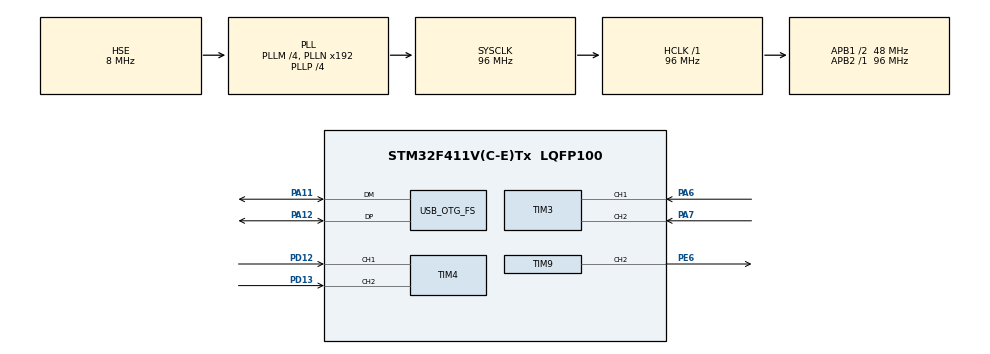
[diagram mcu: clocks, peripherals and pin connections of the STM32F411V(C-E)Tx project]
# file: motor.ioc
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Mcu.Family=STM32F4
Mcu.Name=STM32F411V(C-E)Tx
Mcu.Package=LQFP100
NVIC.OTG_FS_IRQn=true\:0\:0\:false\:false\:true\:true\:true\:true
NVIC.PriorityGroup=NVIC_PRIORITYGROUP_4
NVIC.TIM2_IRQn=true\:0\:0\:false\:false\:true\:true\:true\:true
PA11.Mode=Device_Only
PA11.Signal=USB_OTG_FS_DM
PA12.Mode=Device_Only
PA12.Signal=USB_OTG_FS_DP
PA6.GPIO_PuPd=GPIO_PULLUP
PA6.Signal=S_TIM3_CH1
PA7.GPIO_PuPd=GPIO_PULLUP
PA7.Signal=S_TIM3_CH2
PD12.GPIO_PuPd=GPIO_PULLUP
PD12.Signal=S_TIM4_CH1
PD13.GPIO_PuPd=GPIO_PULLUP
PD13.Signal=S_TIM4_CH2
PE6.Signal=S_TIM9_CH2
PH0\ -\ OSC_IN.Mode=HSE-External-Oscillator
PH0\ -\ OSC_IN.Signal=RCC_OSC_IN
PH1\ -\ OSC_OUT.Mode=HSE-External-Oscillator
PH1\ -\ OSC_OUT.Signal=RCC_OSC_OUT
ProjectManager.HeapSize=0x200
ProjectManager.StackSize=0x400
ProjectManager.TargetToolchain=Makefile
RCC.48MHZClocksFreq_Value=48000000
RCC.AHBFreq_Value=96000000
RCC.APB1CLKDivider=RCC_HCLK_DIV2
RCC.APB1Freq_Value=48000000
RCC.APB1TimFreq_Value=96000000
RCC.APB2Freq_Value=96000000
RCC.APB2TimFreq_Value=96000000
RCC.CortexFreq_Value=96000000
RCC.HCLKFreq_Value=96000000
RCC.HSE_VALUE=8000000
RCC.HSI_VALUE=16000000
RCC.LSE_VALUE=32768
RCC.PLLI2SM=5
RCC.PLLI2SN=200
RCC.PLLM=4
RCC.PLLP=RCC_PLLP_DIV4
RCC.PLLQ=8
RCC.SYSCLKFreq_VALUE=96000000
RCC.SYSCLKSource=RCC_SYSCLKSOURCE_PLLCLK
RCC.VCOOutputFreq_Value=384000000
SH.S_TIM3_CH1.0=TIM3_CH1,Encoder_Interface
SH.S_TIM3_CH2.0=TIM3_CH2,Encoder_Interface
SH.S_TIM4_CH1.0=TIM4_CH1,Encoder_Interface
SH.S_TIM4_CH2.0=TIM4_CH2,Encoder_Interface
SH.S_TIM9_CH2.0=TIM9_CH2,PWM Generation2 CH2
TIM2.Period=9999
TIM2.Prescaler=9599
TIM3.EncoderMode=TIM_ENCODERMODE_TI12
TIM4.EncoderMode=TIM_ENCODERMODE_TI12
TIM9.Channel-PWM\ Generation2\ CH2=TIM_CHANNEL_2
TIM9.OCFastMode_PWM-PWM\ Generation2\ CH2=TIM_OCFAST_ENABLE
TIM9.Period=499
TIM9.Prescaler=959
TIM9.Pulse-PWM\ Generation2\ CH2=249
USB_DEVICE.CLASS_NAME_FS=CDC
USB_DEVICE.VirtualMode=Cdc
USB_DEVICE.VirtualModeFS=Cdc_FS
USB_OTG_FS.VirtualMode=Device_Only
VP_TIM2_VS_ClockSourceINT.Mode=Internal
VP_USB_DEVICE_VS_USB_DEVICE_CDC_FS.Mode=CDC_FS
board=STM32F411E-DISCO

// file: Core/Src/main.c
/* USER CODE BEGIN Header */
/**
  ******************************************************************************
  * @file           : main.c
  * @brief          : Main program body
  ******************************************************************************
  * @attention
  *
  * Copyright (c) 2023 STMicroelectronics.
  * All rights reserved.
  *
  * This software is licensed under terms that can be found in the LICENSE file
  * in the root directory of this software component.
  * If no LICENSE file comes with this software, it is provided AS-IS.
  *
  ******************************************************************************
  */
/* USER CODE END Header */
#include "main.h"
#include "usb_device.h"

/* USER CODE BEGIN Includes */
#include "usbd_cdc_if.h"

/* USER CODE END Includes */

/* USER CODE BEGIN PM */
#define dt 0.1
#define Kp 1
#define Ki 0.8
#define Kd 0.
#define u0 0;
/* USER CODE END PM */

TIM_HandleTypeDef htim2;
TIM_HandleTypeDef htim3;
TIM_HandleTypeDef htim4;
TIM_HandleTypeDef htim9;

/* USER CODE BEGIN PV */
//pid parameter
//default dt=1

//pid parameter
float A0 = Kp + Ki*dt + Kd/dt;
float A1 = -Kp - 2.*Kd/dt;
float A2 = Kd/dt;
//for encoder record

int16_t encoder1_current = 0;
int16_t encoder2_current = 0;
int16_t error[3] = {0};
uint32_t PSC_output = 0;

//for encoder record
int16_t output = u0;
uint32_t counter = 95;

/* USER CODE END PV */

void SystemClock_Config(void);
static void MX_GPIO_Init(void);
static void MX_TIM4_Init(void);
static void MX_TIM3_Init(void);
static void MX_TIM2_Init(void);
static void MX_TIM9_Init(void);

int main(void)
{

  /* MCU Configuration--------------------------------------------------------*/

  /* Reset of all peripherals, Initializes the Flash interface and the Systick. */
  HAL_Init();

  /* Configure the system clock */
  SystemClock_Config();

  /* Initialize all configured peripherals */
  MX_GPIO_Init();
  MX_USB_DEVICE_Init();
  MX_TIM4_Init();
  MX_TIM3_Init();
  MX_TIM2_Init();
  MX_TIM9_Init();
  /* USER CODE BEGIN 2 */
  HAL_TIM_Base_Start_IT(&htim2);
  HAL_TIM_Encoder_Start(&htim3,TIM_CHANNEL_1|TIM_CHANNEL_2);
  HAL_TIM_Encoder_Start(&htim4,TIM_CHANNEL_1|TIM_CHANNEL_2);
  HAL_TIM_PWM_Start(&htim9, TIM_CHANNEL_2);

  /* USER CODE END 2 */

  /* Infinite loop */
  while (1)
  {

  }
}

void SystemClock_Config(void)
{
  RCC_OscInitTypeDef RCC_OscInitStruct = {0};
  RCC_ClkInitTypeDef RCC_ClkInitStruct = {0};

  /** Configure the main internal regulator output voltage
  */
  __HAL_RCC_PWR_CLK_ENABLE();
  __HAL_PWR_VOLTAGESCALING_CONFIG(PWR_REGULATOR_VOLTAGE_SCALE1);

  /** Initializes the RCC Oscillators according to the specified parameters
  * in the RCC_OscInitTypeDef structure.
  */
  RCC_OscInitStruct.OscillatorType = RCC_OSCILLATORTYPE_HSE;
  RCC_OscInitStruct.HSEState = RCC_HSE_ON;
  RCC_OscInitStruct.PLL.PLLState = RCC_PLL_ON;
  RCC_OscInitStruct.PLL.PLLSource = RCC_PLLSOURCE_HSE;
  RCC_OscInitStruct.PLL.PLLM = 4;
  RCC_OscInitStruct.PLL.PLLN = 192;
  RCC_OscInitStruct.PLL.PLLP = RCC_PLLP_DIV4;
  RCC_OscInitStruct.PLL.PLLQ = 8;
  if (HAL_RCC_OscConfig(&RCC_OscInitStruct) != HAL_OK)
  {
    Error_Handler();
  }

  /** Initializes the CPU, AHB and APB buses clocks
  */
  RCC_ClkInitStruct.ClockType = RCC_CLOCKTYPE_HCLK|RCC_CLOCKTYPE_SYSCLK
                              |RCC_CLOCKTYPE_PCLK1|RCC_CLOCKTYPE_PCLK2;
  RCC_ClkInitStruct.SYSCLKSource = RCC_SYSCLKSOURCE_PLLCLK;
  RCC_ClkInitStruct.AHBCLKDivider = RCC_SYSCLK_DIV1;
  RCC_ClkInitStruct.APB1CLKDivider = RCC_HCLK_DIV2;
  RCC_ClkInitStruct.APB2CLKDivider = RCC_HCLK_DIV1;

  if (HAL_RCC_ClockConfig(&RCC_ClkInitStruct, FLASH_LATENCY_3) != HAL_OK)
  {
    Error_Handler();
  }
}

static void MX_TIM2_Init(void)
{

  TIM_ClockConfigTypeDef sClockSourceConfig = {0};
  TIM_MasterConfigTypeDef sMasterConfig = {0};

  htim2.Instance = TIM2;
  htim2.Init.Prescaler = 95;
  htim2.Init.CounterMode = TIM_COUNTERMODE_UP;
  htim2.Init.Period = 9999;
  htim2.Init.ClockDivision = TIM_CLOCKDIVISION_DIV1;
  htim2.Init.AutoReloadPreload = TIM_AUTORELOAD_PRELOAD_DISABLE;
  if (HAL_TIM_Base_Init(&htim2) != HAL_OK)
  {
    Error_Handler();
  }
  sClockSourceConfig.ClockSource = TIM_CLOCKSOURCE_INTERNAL;
  if (HAL_TIM_ConfigClockSource(&htim2, &sClockSourceConfig) != HAL_OK)
  {
    Error_Handler();
  }
  sMasterConfig.MasterOutputTrigger = TIM_TRGO_RESET;
  sMasterConfig.MasterSlaveMode = TIM_MASTERSLAVEMODE_DISABLE;
  if (HAL_TIMEx_MasterConfigSynchronization(&htim2, &sMasterConfig) != HAL_OK)
  {
    Error_Handler();
  }

}

static void MX_TIM3_Init(void)
{

  TIM_Encoder_InitTypeDef sConfig = {0};
  TIM_MasterConfigTypeDef sMasterConfig = {0};

  htim3.Instance = TIM3;
  htim3.Init.Prescaler = 0;
  htim3.Init.CounterMode = TIM_COUNTERMODE_UP;
  htim3.Init.Period = 65535;
  htim3.Init.ClockDivision = TIM_CLOCKDIVISION_DIV1;
  htim3.Init.AutoReloadPreload = TIM_AUTORELOAD_PRELOAD_DISABLE;
  sConfig.EncoderMode = TIM_ENCODERMODE_TI12;
  sConfig.IC1Polarity = TIM_ICPOLARITY_RISING;
  sConfig.IC1Selection = TIM_ICSELECTION_DIRECTTI;
  sConfig.IC1Prescaler = TIM_ICPSC_DIV1;
  sConfig.IC1Filter = 0;
  sConfig.IC2Polarity = TIM_ICPOLARITY_RISING;
  sConfig.IC2Selection = TIM_ICSELECTION_DIRECTTI;
  sConfig.IC2Prescaler = TIM_ICPSC_DIV1;
  sConfig.IC2Filter = 0;
  if (HAL_TIM_Encoder_Init(&htim3, &sConfig) != HAL_OK)
  {
    Error_Handler();
  }
  sMasterConfig.MasterOutputTrigger = TIM_TRGO_RESET;
  sMasterConfig.MasterSlaveMode = TIM_MASTERSLAVEMODE_DISABLE;
  if (HAL_TIMEx_MasterConfigSynchronization(&htim3, &sMasterConfig) != HAL_OK)
  {
    Error_Handler();
  }

}

static void MX_TIM4_Init(void)
{

  TIM_Encoder_InitTypeDef sConfig = {0};
  TIM_MasterConfigTypeDef sMasterConfig = {0};

  htim4.Instance = TIM4;
  htim4.Init.Prescaler = 0;
  htim4.Init.CounterMode = TIM_COUNTERMODE_UP;
  htim4.Init.Period = 65535;
  htim4.Init.ClockDivision = TIM_CLOCKDIVISION_DIV1;
  htim4.Init.AutoReloadPreload = TIM_AUTORELOAD_PRELOAD_DISABLE;
  sConfig.EncoderMode = TIM_ENCODERMODE_TI12;
  sConfig.IC1Polarity = TIM_ICPOLARITY_RISING;
  sConfig.IC1Selection = TIM_ICSELECTION_DIRECTTI;
  sConfig.IC1Prescaler = TIM_ICPSC_DIV1;
  sConfig.IC1Filter = 0;
  sConfig.IC2Polarity = TIM_ICPOLARITY_RISING;
  sConfig.IC2Selection = TIM_ICSELECTION_DIRECTTI;
  sConfig.IC2Prescaler = TIM_ICPSC_DIV1;
  sConfig.IC2Filter = 0;
  if (HAL_TIM_Encoder_Init(&htim4, &sConfig) != HAL_OK)
  {
    Error_Handler();
  }
  sMasterConfig.MasterOutputTrigger = TIM_TRGO_RESET;
  sMasterConfig.MasterSlaveMode = TIM_MASTERSLAVEMODE_DISABLE;
  if (HAL_TIMEx_MasterConfigSynchronization(&htim4, &sMasterConfig) != HAL_OK)
  {
    Error_Handler();
  }

}

static void MX_TIM9_Init(void)
{

  TIM_OC_InitTypeDef sConfigOC = {0};

  htim9.Instance = TIM9;
  htim9.Init.Prescaler = 959;
  htim9.Init.CounterMode = TIM_COUNTERMODE_UP;
  htim9.Init.Period = 499;
  htim9.Init.ClockDivision = TIM_CLOCKDIVISION_DIV1;
  htim9.Init.AutoReloadPreload = TIM_AUTORELOAD_PRELOAD_DISABLE;
  if (HAL_TIM_PWM_Init(&htim9) != HAL_OK)
  {
    Error_Handler();
  }
  sConfigOC.OCMode = TIM_OCMODE_PWM1;
  sConfigOC.Pulse = 249;
  sConfigOC.OCPolarity = TIM_OCPOLARITY_HIGH;
  sConfigOC.OCFastMode = TIM_OCFAST_ENABLE;
  if (HAL_TIM_PWM_ConfigChannel(&htim9, &sConfigOC, TIM_CHANNEL_2) != HAL_OK)
  {
    Error_Handler();
  }
  HAL_TIM_MspPostInit(&htim9);

}

static void MX_GPIO_Init(void)
{

  /* GPIO Ports Clock Enable */
  __HAL_RCC_GPIOE_CLK_ENABLE();
  __HAL_RCC_GPIOH_CLK_ENABLE();
  __HAL_RCC_GPIOA_CLK_ENABLE();
  __HAL_RCC_GPIOD_CLK_ENABLE();

}

/* USER CODE BEGIN 4 */
void HAL_TIM_PeriodElapsedCallback(TIM_HandleTypeDef* htim){
	if(htim->Instance == htim2.Instance){
    encoder1_current = (int16_t)__HAL_TIM_GET_COUNTER(&htim3);
    encoder2_current = (int16_t)__HAL_TIM_GET_COUNTER(&htim4);
    error[2] = error[1];
    error[1] = error[0];
    error[0] = encoder1_current - encoder2_current;
    output = output + A0*error[0] + A1*error[1] + A2*error[2];
    __HAL_TIM_GET_COUNTER(&htim4) -= __HAL_TIM_GET_COUNTER(&htim3);
    __HAL_TIM_GET_COUNTER(&htim3) = 0;

    //usbd_printf("%d %d\r\n",__HAL_TIM_GET_COUNTER(&htim3),__HAL_TIM_GET_COUNTER(&htim4));
    if(output<10){
      output = 10;
      __HAL_TIM_PRESCALER(&htim9,19199);//10Hz
      return;
    }
    else if(output>2000){
      output = 2000;
      __HAL_TIM_PRESCALER(&htim9,95);//2000Hz
      return;
    }
    else{
      (&htim9)->Instance->PSC = 192000/output - 1;
    }
	}
}
/* USER CODE END 4 */

void Error_Handler(void)
{
  __disable_irq();
  while (1)
  {
  }
}
